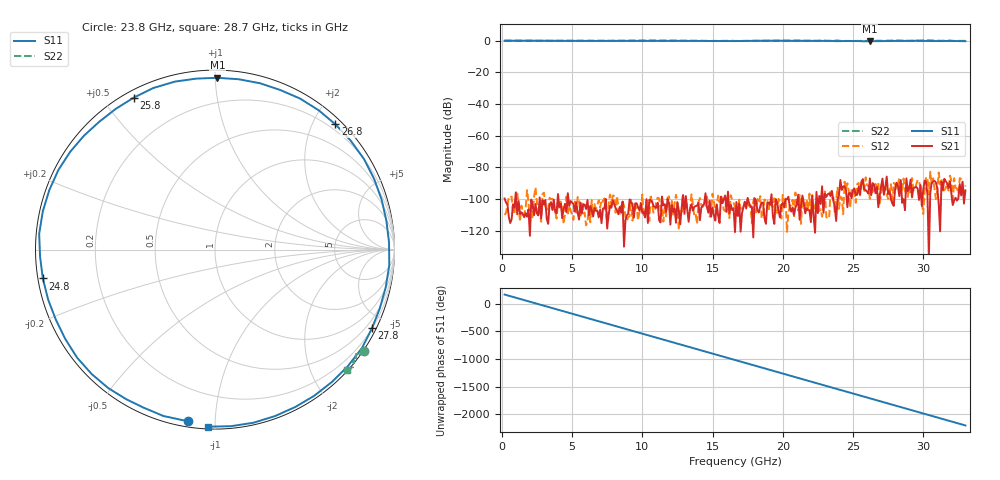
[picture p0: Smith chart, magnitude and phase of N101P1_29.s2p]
# GHZ S RI R 50
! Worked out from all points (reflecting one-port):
!   329 points, 200 MHz to 33 GHz, reference 50 ohm
!   lowest |S11| = -0.4 dB at 26.2 GHz (marker M1), VSWR 45.80, Z = 2.21 + j50.6 ohm
!   phase of S11 starts at 165 deg and turns -2369 deg over the sweep
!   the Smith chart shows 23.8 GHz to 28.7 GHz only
!   S11 on the Smith chart (normalised r, x): 23.8 GHz: 0.03, -0.85; 24.8 GHz: 0.01, -0.08; 25.8 GHz: 0.03, +0.60; 26.8 GHz: 0.11, +2.34; 27.8 GHz: 0.21, -4.23; 28.7 GHz: 0.01, -0.96
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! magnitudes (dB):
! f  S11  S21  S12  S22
! 200 MHz  0.0  -99.7  -110.2  0.0
! 5.7 GHz  -0.1  -109.2  -101.6  -0.1
! 11.2 GHz  -0.1  -113.6  -99.7  0.0
! 16.6 GHz  -0.2  -121.0  -105.0  -0.2
! 19.5 GHz  0.0  -100.1  -109.2  0.0
! 22.1 GHz  -0.1  -98.2  -97.5  0.0
! 22.9 GHz  -0.1  -108.8  -101.6  0.1
! 23.3 GHz  -0.2  -96.5  -112.0  -0.1
! 23.5 GHz  -0.1  -94.9  -99.4  0.0
! 23.8 GHz  -0.3  -113.9  -100.9  0.0
! 24.8 GHz  -0.2  -96.3  -105.5  -0.2
! 25.8 GHz  -0.4  -94.1  -95.8  -0.1
! 26.2 GHz  -0.4  -87.1  -99.9  -0.1
! 26.8 GHz  -0.3  -105.2  -89.8  -0.1
! 27.6 GHz  -0.2  -95.1  -94.9  0.0
! 27.8 GHz  -0.2  -102.7  -103.3  0.0
! 28.7 GHz  -0.1  -107.1  -95.0  0.0
! 30.3 GHz  -0.1  -97.3  -86.9  0.1
! 31.3 GHz  -0.3  -89.0  -87.0  -0.1
! 31.9 GHz  0.0  -89.0  -85.3  0.0
! 32.1 GHz  -0.2  -103.9  -103.2  -0.1
! 33 GHz  -0.3  -94.7  -91.4  -0.1
